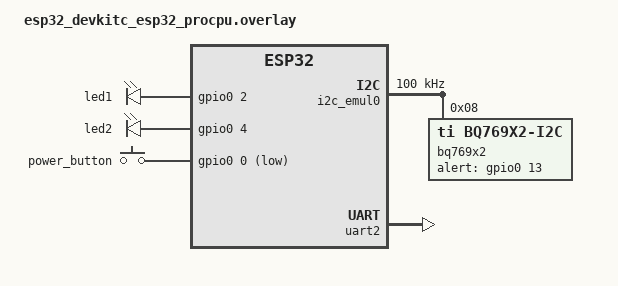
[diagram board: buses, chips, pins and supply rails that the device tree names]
/*
 * Copyright (c) The Libre Solar Project Contributors
 *
 * SPDX-License-Identifier: Apache-2.0
 */

/*
 * ESP32-DevKitC, Stage 1: the real BMS app on an EMULATED BQ76952 (same idea as native_sim.overlay).
 *
 * The board's own &i2c0 (GPIO21/22) is left alone for the real chip later. The emulated chip sits on a
 * separate emulator bus. UART0 (USB) is the Zephyr shell; ThingSet serial is on UART2 (GPIO16 RX, GPIO17 TX).
 */

#include <dt-bindings/bms_ic/bq769x2.h>

/ {
	pcb {
		compatible = "bms";

		type = "BMS ESP32 DevKit";
		version-str = "v0.1";
		version-num = <1>;
	};

	chosen {
		thingset,serial = &uart2;
	};

	leds {
		compatible = "gpio-leds";
		led1: led_0 {
			gpios = <&gpio0 2 GPIO_ACTIVE_HIGH>;
		};
		led2: led_1 {
			gpios = <&gpio0 4 GPIO_ACTIVE_HIGH>;
		};
	};

	gpio_keys {
		compatible = "gpio-keys";
		/* the BOOT button: hold 3 s to shut down, as the power button does on the C1 */
		power_button: button {
			gpios = <&gpio0 0 (GPIO_PULL_UP | GPIO_ACTIVE_LOW)>;
		};
	};

	aliases {
		led-red = &led1;
		led-green = &led2;
		sw-pwr = &power_button;
		bms-ic = &bq769x2;
	};

	/* emulator bus for the simulated chip; replaced by the real &i2c0 in Stage 5 */
	i2c_emul0: i2c@100 {
		compatible = "zephyr,i2c-emul-controller";
		clock-frequency = <I2C_BITRATE_STANDARD>;
		#address-cells = <1>;
		#size-cells = <0>;
		#forward-cells = <1>;
		reg = <0x100 4>;
		status = "okay";

		bq769x2: bq76952@8 {
			compatible = "ti,bq769x2-i2c";
			reg = <0x08>;
			alert-gpios = <&gpio0 13 GPIO_ACTIVE_HIGH>;
			used-cell-channels = <0xFFFF>;
			/* all NTCs configured with 18k pull-up */
			ts1-pin-config = <0x07>;
			dchg-pin-config = <0x0F>;
			cell-temp-pins = <BQ769X2_PIN_TS1>;
			fet-temp-pin = <BQ769X2_PIN_DCHG>;
			board-max-current = <50>;
			shunt-resistor-uohm = <500>;
			status = "okay";
		};
	};
};

&uart2 {
	status = "okay";
};
